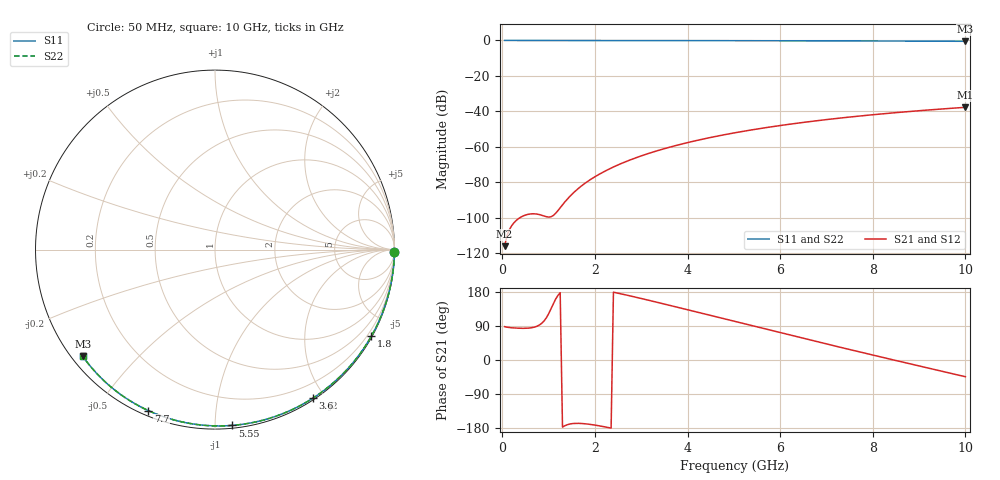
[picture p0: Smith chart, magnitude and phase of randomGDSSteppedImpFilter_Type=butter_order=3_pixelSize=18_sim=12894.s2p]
! freq	dB(S11)	phase(S11)	dB(S12)	phase(S12)
!  dB(S21)	phase(S21)	dB(S22)	phase(S22)
!S-par simulation data
#  GHz  S  DB  R 50
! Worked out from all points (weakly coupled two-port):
!   200 points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, 50 MHz to 10 GHz, reference 50 ohm
!   highest |S21| = -37.69 dB at 10 GHz (marker M1); lowest = -115.9 dB at 50 MHz (marker M2)
!   lowest |S11| = -0.5 dB at 10 GHz (marker M3), VSWR 36.57, Z = 1.54 - j17.6 ohm
!   |S11| at or under -10 dB: nowhere
!   |S22| runs from -0.5 to 0.0 dB; largest |S21 - S12| = 0
!   S11 on the Smith chart (normalised r, x): 50 MHz: open; 1.8 GHz: 0.03, -3.87; 3.6 GHz: 0.02, -1.86; 5.55 GHz: 0.02, -1.10; 7.7 GHz: 0.02, -0.67; 10 GHz: 0.03, -0.35
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0.05  -0.00 -0.8  -115.94 88.0  -115.94 88.0  -0.00 -0.8
0.45  -0.01 -7.4  -98.90 83.6  -98.90 83.6  -0.01 -7.4
0.9  -0.02 -14.6  -98.92 102.8  -98.92 102.8  -0.02 -14.6
1.3  -0.03 -21.1  -92.63 -177.2  -92.63 -177.2  -0.03 -21.1
1.75  -0.04 -28.2  -81.18 -167.9  -81.18 -167.9  -0.04 -28.2
1.8  -0.04 -29.0  -80.23 -168.4  -80.23 -168.4  -0.04 -29.0
2.15  -0.04 -34.5  -74.58 -174.9  -74.58 -174.9  -0.04 -34.5
2.35  -0.05 -37.6  -71.93 -179.8  -71.93 -179.8  -0.05 -37.6
2.55  -0.05 -40.7  -69.56 175.0  -69.56 175.0  -0.05 -40.7
2.95  -0.06 -46.8  -65.51 163.8  -65.51 163.8  -0.06 -46.8
3.4  -0.07 -53.6  -61.73 150.6  -61.73 150.6  -0.07 -53.6
3.6  -0.08 -56.6  -60.25 144.6  -60.25 144.6  -0.08 -56.6
3.9  -0.08 -61.0  -58.20 135.6  -58.20 135.6  -0.08 -61.0
4.3  -0.09 -66.8  -55.77 123.5  -55.77 123.5  -0.09 -66.8
5.05  -0.12 -77.5  -51.90 100.8  -51.90 100.8  -0.12 -77.5
5.55  -0.14 -84.4  -49.71 85.6  -49.71 85.6  -0.14 -84.4
6.1  -0.16 -91.8  -47.58 69.1  -47.58 69.1  -0.16 -91.8
6.7  -0.19 -99.7  -45.53 51.2  -45.53 51.2  -0.19 -99.7
7.7  -0.26 -112.6  -42.63 21.8  -42.63 21.8  -0.26 -112.6
8.35  -0.31 -120.7  -41.02 3.0  -41.02 3.0  -0.31 -120.7
9.2  -0.39 -131.3  -39.18 -21.4  -39.18 -21.4  -0.39 -131.2
10  -0.48 -141.1  -37.69 -44.1  -37.69 -44.1  -0.48 -141.1
